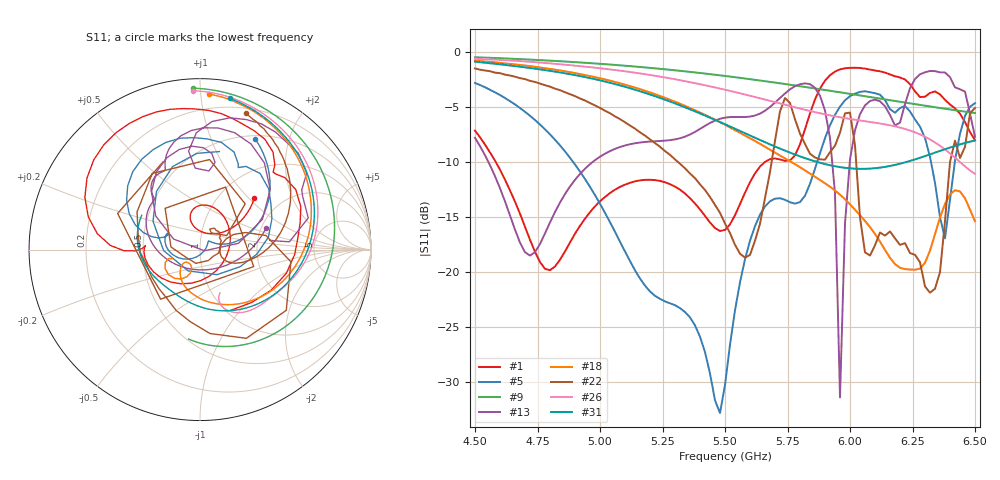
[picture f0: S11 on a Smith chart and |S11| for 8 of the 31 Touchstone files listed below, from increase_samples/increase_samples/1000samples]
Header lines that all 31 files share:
! TOUCHSTONE file generated by CST MICROWAVE STUDIO
! Project name: L.cst
! Header version: 2018
! Port assignment regex: !\s*Touchstone port\s*([0-9]+)\s*=\s*(CST MWS port|CST DS port)\s*([0-9]+|Zmin|Zmax)\s*\(\"(.*)\"\)(\s*mode\s*([0-9]+))?.*
! Touchstone port assignment:
! Touchstone port 1 = CST MWS port 1 ("")
# GHz S DB R 50
Fixed: Di = 1.27, Epsilon_r = 1.56, InnerDiameter = 1.27, Length = 2, Lf = 10, Lg = 60, OuterConductorThickness = 0.2921, OuterDiameter = 3.6, Wf = 3, Wp = 41.2, de = 1.5, df = 6.8, g = 0.8, h = 2.34, hf = 1.524, w = 9.7
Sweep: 4.5 GHz to 6.5 GHz
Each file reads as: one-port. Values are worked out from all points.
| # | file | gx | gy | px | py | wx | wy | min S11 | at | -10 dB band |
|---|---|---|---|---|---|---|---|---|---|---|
| 1 | S_1000samples401.s1p | 1.05316 | 1.78111 | 12.5451 | 8.73267 | 11.4919 | 6.95156 | -19.8 dB | 4.8 GHz | 1.076 GHz wide |
| 2 | S_1000samples402.s1p | 2.61046 | 4.18542 | 12.1844 | 13.1059 | 9.57393 | 8.92047 | -9.4 dB | 6.5 GHz | - |
| 3 | S_1000samples403.s1p | 4.15766 | 0.862241 | 14.2664 | 14.1054 | 10.1087 | 13.2431 | -17.0 dB | 5.48 GHz | over 256.5 MHz wide |
| 4 | S_1000samples404.s1p | 2.98649 | 1.30221 | 13.6087 | 11.0579 | 10.6222 | 9.75565 | -10.1 dB | 5.1 GHz | 96.83 MHz wide |
| 5 | S_1000samples405.s1p | 1.72173 | 2.36117 | 13.0726 | 10.8098 | 11.3509 | 8.44866 | -32.8 dB | 5.48 GHz | 976.1 MHz wide |
| 6 | S_1000samples406.s1p | 2.07643 | 2.13848 | 10.9664 | 10.8564 | 8.88996 | 8.71789 | -6.7 dB | 6.14 GHz | - |
| 7 | S_1000samples407.s1p | 2.78479 | 4.01134 | 14.981 | 14.0309 | 12.1962 | 10.0196 | -25.8 dB | 5.92 GHz | 313 MHz wide |
| 8 | S_1000samples408.s1p | 4.65285 | 2.49742 | 12.3232 | 11.6172 | 7.6703 | 9.11975 | -3.3 dB | 6.26 GHz | - |
| 9 | S_1000samples409.s1p | 1.74609 | 4.12604 | 10.5554 | 8.82646 | 8.80929 | 4.70042 | -5.6 dB | 6.5 GHz | - |
| 10 | S_1000samples410.s1p | 3.27484 | 0.530182 | 9.24842 | 9.45475 | 5.97359 | 8.92457 | -5.4 dB | 6.5 GHz | - |
| 11 | S_1000samples411.s1p | 0.598422 | 4.99143 | 10.3303 | 9.15505 | 9.73185 | 4.16362 | -11.9 dB | 6.5 GHz | over 35.96 MHz wide |
| 12 | S_1000samples413.s1p | 1.33421 | 3.97562 | 14.6661 | 10.4533 | 13.3319 | 6.47767 | -14.9 dB | 5.22 GHz | 87.55 MHz wide |
| 13 | S_1000samples414.s1p | 2.67353 | 0.557097 | 14.3832 | 11.827 | 11.7097 | 11.2699 | -31.4 dB | 5.96 GHz | 417.3 MHz wide |
| 14 | S_1000samples415.s1p | 3.04829 | 4.47914 | 14.9216 | 8.88112 | 11.8733 | 4.40198 | -23.0 dB | 5.76 GHz | 782.1 MHz wide |
| 15 | S_1000samples416.s1p | 1.55768 | 3.83563 | 14.7555 | 12.8291 | 13.1978 | 8.99345 | -25.4 dB | 5.14 GHz | 116.4 MHz wide |
| 16 | S_1000samples417.s1p | 2.58743 | 0.887365 | 14.2776 | 10.3888 | 11.6901 | 9.50141 | -18.4 dB | 4.78 GHz | 519.4 MHz wide |
| 17 | S_1000samples420.s1p | 0.739305 | 0.414855 | 12.536 | 13.2751 | 11.7967 | 12.8603 | -31.9 dB | 5.08 GHz | 262.4 MHz wide |
| 18 | S_1000samples421.s1p | 3.10675 | 3.40124 | 13.589 | 9.75116 | 10.4822 | 6.34993 | -19.8 dB | 6.26 GHz | over 735.1 MHz wide |
| 19 | S_1000samples422.s1p | 1.25851 | 3.28377 | 8.57088 | 9.31867 | 7.31237 | 6.0349 | -4.0 dB | 6.5 GHz | - |
| 20 | S_1000samples424.s1p | 2.05147 | 2.32547 | 8.11485 | 14.9574 | 6.06338 | 12.6319 | -17.7 dB | 5.54 GHz | 100.1 MHz wide |
| 21 | S_1000samples425.s1p | 3.48362 | 4.72551 | 9.67263 | 14.7673 | 6.18901 | 10.0418 | -3.7 dB | 6.48 GHz | - |
| 22 | S_1000samples426.s1p | 0.683401 | 2.40649 | 9.85019 | 14.4254 | 9.16679 | 12.0189 | -21.9 dB | 6.32 GHz | 374.5 MHz wide |
| 23 | S_1000samples427.s1p | 1.90827 | 0.888107 | 14.5161 | 11.1278 | 12.6078 | 10.2397 | -19.4 dB | 4.5 GHz | over 312.7 MHz wide |
| 24 | S_1000samples430.s1p | 2.46825 | 2.33215 | 12.5381 | 13.1756 | 10.0698 | 10.8435 | -22.3 dB | 6.48 GHz | 228.4 MHz wide |
| 25 | S_1000samples431.s1p | 1.62947 | 1.39935 | 13.7766 | 14.2037 | 12.1472 | 12.8043 | -16.9 dB | 4.72 GHz | 692 MHz wide |
| 26 | S_1000samples432.s1p | 0.594226 | 4.56493 | 8.63909 | 13.8834 | 8.04487 | 9.31848 | -11.1 dB | 6.5 GHz | over 60.31 MHz wide |
| 27 | S_1000samples434.s1p | 0.616568 | 2.16081 | 10.6677 | 9.03384 | 10.0512 | 6.87303 | -17.2 dB | 5.16 GHz | 834.5 MHz wide |
| 28 | S_1000samples436.s1p | 2.46487 | 0.846267 | 11.0057 | 9.34831 | 8.54082 | 8.50205 | -4.8 dB | 6.5 GHz | - |
| 29 | S_1000samples438.s1p | 4.57336 | 0.858904 | 11.3612 | 13.0301 | 6.78779 | 12.1712 | -15.5 dB | 6.06 GHz | 113.1 MHz wide |
| 30 | S_1000samples439.s1p | 3.43684 | 0.504023 | 11.8049 | 9.55785 | 8.36803 | 9.05382 | -6.1 dB | 6.36 GHz | - |
| 31 | S_1000samples440.s1p | 2.05784 | 2.72662 | 11.7525 | 12.1704 | 9.69471 | 9.44376 | -10.6 dB | 6.04 GHz | 356 MHz wide |
